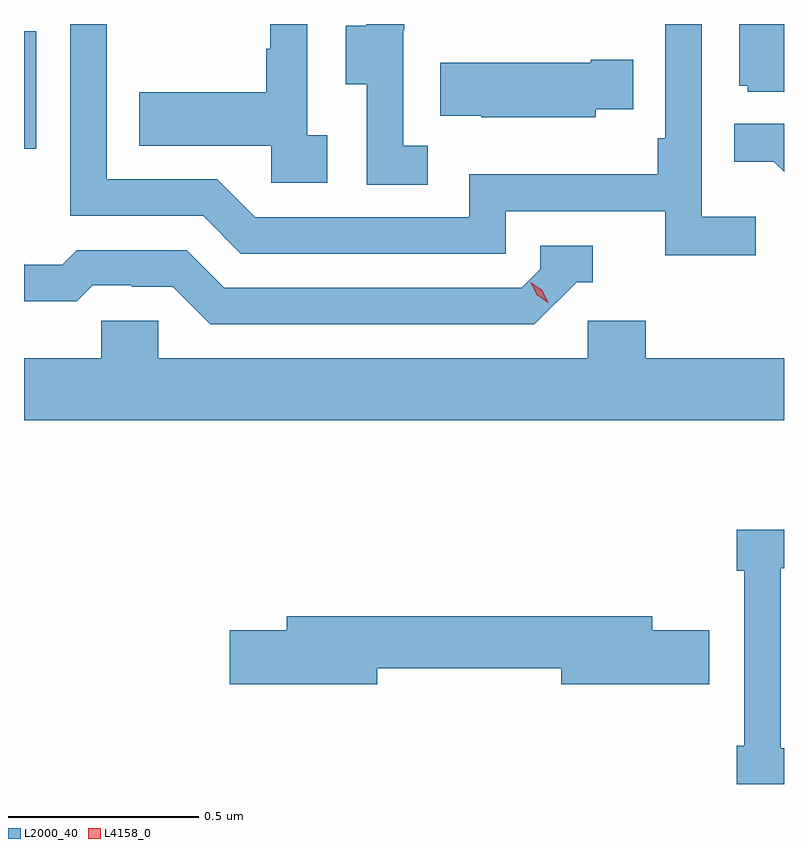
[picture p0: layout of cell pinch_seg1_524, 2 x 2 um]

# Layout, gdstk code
import gdstk
lib = gdstk.Library(unit=1e-6, precision=1e-09)
def R(c, l, rs):  # rectangles x0, y0, x1, y1
    for r in rs: c.add(gdstk.rectangle(r[:2], r[2:], *l))
def P(c, l, *ps):  # polygons
    for p in ps: c.add(gdstk.Polygon(p, *l))
L2000_40 = (2000, 40)
L4158_0 = (4158, 0)

pinch_seg1_524 = lib.new_cell('pinch_seg1_524')
R(pinch_seg1_524, L2000_40, [(1017.94,541.791,1017.972,542.1)])
P(pinch_seg1_524, L2000_40, [(1019.94,542.119),(1019.822,542.119),(1019.822,541.956),(1019.844,541.956),(1019.844,541.941),(1019.94,541.941)],
  [(1019.866,541.612),(1019.724,541.612),(1019.724,542.119),(1019.628,542.119),(1019.628,541.819),(1019.608,541.819),(1019.608,541.723),(1019.112,541.723),(1019.112,541.611),(1018.548,541.611),(1018.449,541.71),(1018.158,541.71),(1018.158,542.119),(1018.062,542.119),(1018.062,541.614),(1018.412,541.614),(1018.511,541.515),(1019.208,541.515),(1019.208,541.626),(1019.627,541.626),(1019.627,541.51),(1019.866,541.51)],
  [(1019.002,541.799),(1018.938,541.799),(1018.938,542.103),(1018.94,542.103),(1018.94,542.119),(1018.841,542.119),(1018.841,542.115),(1018.787,542.115),(1018.787,541.96),(1018.842,541.96),(1018.842,541.696),(1019.002,541.696)],
  [(1018.738,541.826),(1018.686,541.826),(1018.686,542.119),(1018.588,542.119),(1018.588,542.054),(1018.578,542.054),(1018.578,541.939),(1018.243,541.939),(1018.243,541.799),(1018.59,541.799),(1018.59,541.701),(1018.738,541.701)],
  [(1019.445,541.895),(1019.543,541.895),(1019.543,542.025),(1019.432,542.025),(1019.432,542.017),(1019.035,542.017),(1019.035,541.877),(1019.143,541.877),(1019.143,541.874),(1019.445,541.874)],
  [(1019.94,541.856),(1019.809,541.856),(1019.809,541.757),(1019.913,541.757),(1019.94,541.73)],
  [(1019.394,541.44),(1019.437,541.44),(1019.437,541.536),(1019.298,541.536),(1019.298,541.473),(1019.25,541.425),(1018.467,541.425),(1018.368,541.524),(1018.079,541.524),(1018.04,541.485),(1017.941,541.485),(1017.941,541.488),(1017.94,541.488),(1017.94,541.389),(1018.079,541.389),(1018.121,541.431),(1018.224,541.431),(1018.224,541.428),(1018.331,541.428),(1018.43,541.329),(1019.283,541.329)],
  [(1019.94,541.24),(1019.576,541.24),(1019.576,541.338),(1019.424,541.338),(1019.424,541.24),(1018.293,541.24),(1018.293,541.338),(1018.143,541.338),(1018.143,541.24),(1017.94,541.24),(1017.94,541.076),(1019.94,541.076)],
  [(1019.94,540.213),(1019.931,540.213),(1019.931,540.687),(1019.94,540.687),(1019.94,540.788),(1019.815,540.788),(1019.815,540.68),(1019.835,540.68),(1019.835,540.22),(1019.815,540.22),(1019.815,540.119),(1019.94,540.119)],
  [(1018.87,540.424),(1019.354,540.424),(1019.354,540.382),(1019.743,540.382),(1019.743,540.524),(1019.593,540.524),(1019.593,540.56),(1018.631,540.56),(1018.631,540.524),(1018.482,540.524),(1018.482,540.382),(1018.87,540.382)])
P(pinch_seg1_524, L4158_0, [(1019.32,541.386),(1019.289,541.406),(1019.274,541.438),(1019.274,541.439),(1019.274,541.439),(1019.304,541.419),(1019.32,541.386),(1019.32,541.386)])

lib.write_gds('pinch_seg1_524.gds')
